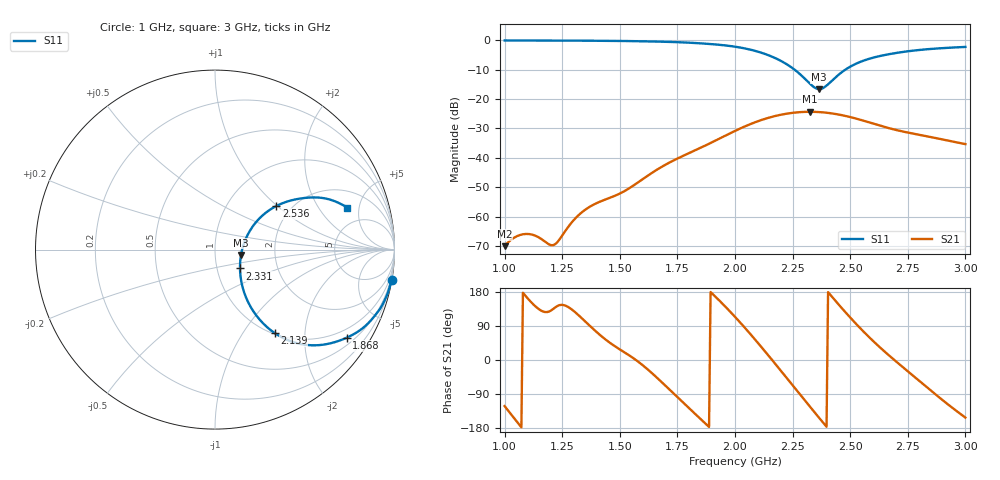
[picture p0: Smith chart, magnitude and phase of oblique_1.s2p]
! TOUCHSTONE file generated by CST MICROWAVE STUDIO
! Date and time: Tue Mar 18 00:00:41 2025
! Project name: oblique.cst
! Parameters = {Tilt=30; Fracture=1; B=10; D=160; F=5; Feed=2.85625; L=100; M=10; R=0.384908; S=1; Theta=90; length=57.125; wave=114.25}
! Header version: 2024
! Port assignment regex: !\s*Touchstone port\s*([0-9]+)\s*=\s*(CST MWS port|CST DES external port|CST DES block port)\s*(.+)\s* \(\"(.*)\"\)(\s*mode\s*([0-9]+))?.*
! Touchstone port assignment:
! Touchstone port 1 = CST MWS port 1 ("")
! Touchstone port 2 = CST MWS port 2 ("")
# GHz S DB R 50
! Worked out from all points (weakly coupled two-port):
!   303 points, 1 GHz to 3 GHz, reference 50 ohm
!   highest |S21| = -24.32 dB at 2.325 GHz (marker M1); lowest = -70.1 dB at 1 GHz (marker M2)
!   lowest |S11| = -16.6 dB at 2.364 GHz (marker M3), VSWR 1.35, Z = 66.8 - j4.04 ohm
!   |S11| at or under -10 dB: 2.259 GHz to 2.478 GHz (219.5 MHz wide, 9.26 % of centre)
!   S12 and S22 are empty: the file has one direction only
!   S11 on the Smith chart (normalised r, x): 1 GHz: 0, -12; 1.868 GHz: 0.71, -3.14; 2.139 GHz: 1.02, -1.40; 2.331 GHz: 1.29, -0.28; 2.536 GHz: 1.67, +0.99; 3 GHz: 3.25, +3.79
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1  -0.02 -9.8  -70.11 -121.7  -200.00 0.0  -200.00 0.0
1.04636  -0.02 -10.4  -66.98 -157.5  -200.00 0.0  -200.00 0.0
1.09272  -0.03 -11.1  -65.94 167.9  -200.00 0.0  -200.00 0.0
1.13245  -0.04 -11.6  -66.50 142.2  -200.00 0.0  -200.00 0.0
1.21192  -0.05 -12.9  -69.72 135.2  -200.00 0.0  -200.00 0.0
1.33775  -0.09 -15.3  -58.41 108.7  -200.00 0.0  -200.00 0.0
1.52318  -0.21 -19.8  -51.22 19.1  -200.00 0.0  -200.00 0.0
1.66887  -0.41 -24.5  -43.68 -51.0  -200.00 0.0  -200.00 0.0
1.86755  -1.09 -33.8  -35.97 -165.3  -200.00 0.0  -200.00 0.0
2  -2.14 -43.0  -30.84 114.0  -200.00 0.0  -200.00 0.0
2.13907  -4.87 -54.4  -26.51 16.3  -200.00 0.0  -200.00 0.0
2.23841  -8.83 -58.0  -24.80 -57.9  -200.00 0.0  -200.00 0.0
2.3245  -14.68 -40.7  -24.32 -122.5  -200.00 0.0  -200.00 0.0
2.33113  -15.17 -37.1  -24.32 -127.5  -200.00 0.0  -200.00 0.0
2.33775  -15.61 -32.9  -24.33 -132.4  -200.00 0.0  -200.00 0.0
2.36424  -16.60 -11.5  -24.41 -152.0  -200.00 0.0  -200.00 0.0
2.39073  -15.81 10.2  -24.58 -171.4  -200.00 0.0  -200.00 0.0
2.45695  -11.23 33.8  -25.36 141.4  -200.00 0.0  -200.00 0.0
2.53642  -7.55 35.4  -26.87 88.4  -200.00 0.0  -200.00 0.0
2.66887  -4.69 29.7  -29.91 11.8  -200.00 0.0  -200.00 0.0
2.82781  -3.05 23.1  -32.58 -69.3  -200.00 0.0  -200.00 0.0
3  -2.23 17.6  -35.33 -152.0  -200.00 0.0  -200.00 0.0
